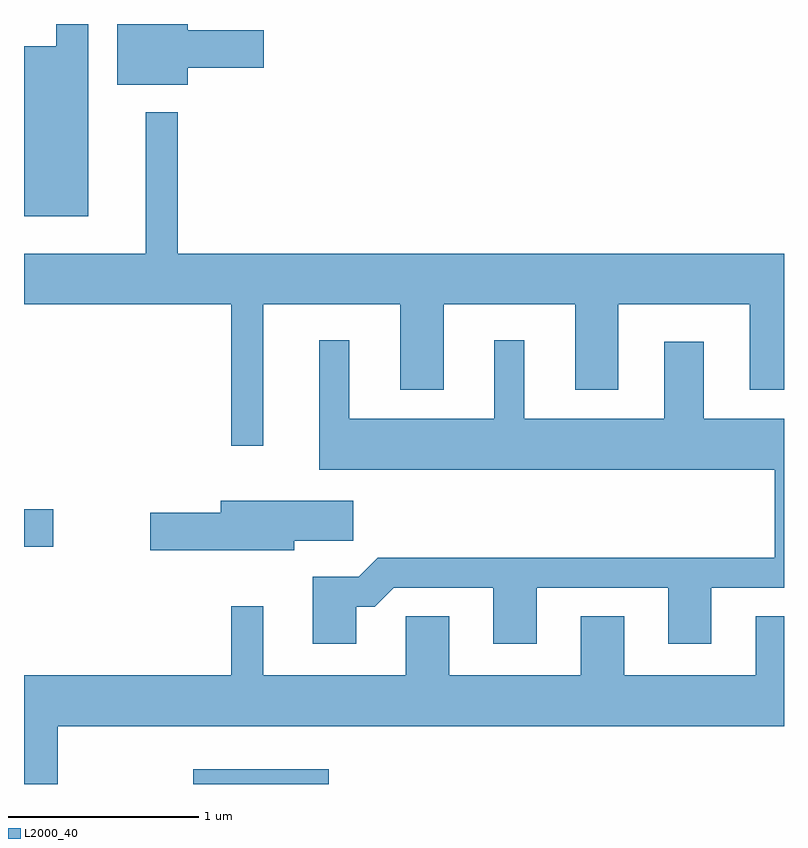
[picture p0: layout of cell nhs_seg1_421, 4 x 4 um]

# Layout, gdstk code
import gdstk
lib = gdstk.Library(unit=1e-6, precision=1e-09)
def R(c, l, rs):  # rectangles x0, y0, x1, y1
    for r in rs: c.add(gdstk.rectangle(r[:2], r[2:], *l))
def P(c, l, *ps):  # polygons
    for p in ps: c.add(gdstk.Polygon(p, *l))
L2000_40 = (2000, 40)

nhs_seg1_421 = lib.new_cell('nhs_seg1_421')
R(nhs_seg1_421, L2000_40, [(198.501,903.712,199.214,903.789), (197.611,904.961,197.764,905.159)])
P(nhs_seg1_421, L2000_40, [(198.474,907.481),(198.874,907.481),(198.874,907.679),(198.474,907.679),(198.474,907.712),(198.101,907.712),(198.101,907.391),(198.474,907.391)],
  [(197.949,907.712),(197.781,907.712),(197.781,907.594),(197.611,907.594),(197.611,906.701),(197.949,906.701)],
  [(198.869,906.236),(199.591,906.236),(199.591,905.786),(199.819,905.786),(199.819,906.236),(200.511,906.236),(200.511,905.786),(200.739,905.786),(200.739,906.236),(201.431,906.236),(201.431,905.786),(201.611,905.786),(201.611,906.504),(198.419,906.504),(198.419,907.248),(198.251,907.248),(198.251,906.504),(197.611,906.504),(197.611,906.236),(198.701,906.236),(198.701,905.493),(198.869,905.493)],
  [(199.359,904.646),(199.457,904.646),(199.557,904.746),(200.081,904.746),(200.081,904.451),(200.309,904.451),(200.309,904.746),(201.001,904.746),(201.001,904.451),(201.229,904.451),(201.229,904.746),(201.611,904.746),(201.611,905.634),(201.189,905.634),(201.189,906.039),(200.981,906.039),(200.981,905.634),(200.244,905.634),(200.244,906.048),(200.086,906.048),(200.086,905.634),(199.324,905.634),(199.324,906.048),(199.166,906.048),(199.166,905.366),(201.561,905.366),(201.561,904.904),(199.474,904.904),(199.374,904.804),(199.131,904.804),(199.131,904.451),(199.359,904.451)],
  [(199.034,904.991),(199.344,904.991),(199.344,905.204),(198.646,905.204),(198.646,905.139),(198.276,905.139),(198.276,904.941),(199.034,904.941)],
  [(197.789,904.016),(201.611,904.016),(201.611,904.594),(201.461,904.594),(201.461,904.284),(200.769,904.284),(200.769,904.594),(200.541,904.594),(200.541,904.284),(199.849,904.284),(199.849,904.594),(199.621,904.594),(199.621,904.284),(198.869,904.284),(198.869,904.648),(198.701,904.648),(198.701,904.284),(197.611,904.284),(197.611,903.712),(197.789,903.712)])

lib.write_gds('nhs_seg1_421.gds')
